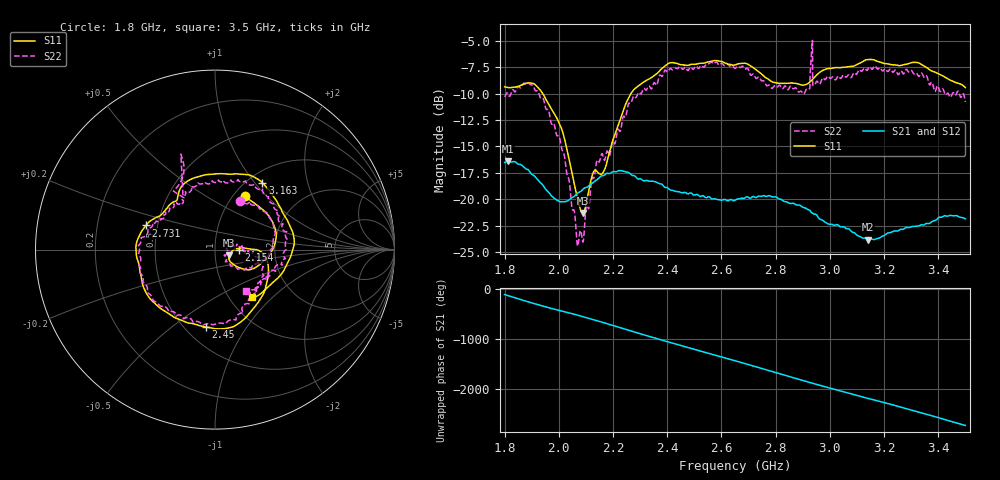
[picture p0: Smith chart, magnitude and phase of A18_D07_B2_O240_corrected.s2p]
! Created with skrf 1.9.0 (http://scikit-rf.org).
# Hz S RI R 50.0
!freq ReS11 ImS11 ReS21 ImS21 ReS12 ImS12 ReS22 ImS22
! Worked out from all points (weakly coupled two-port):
!   1601 points, 1.8 GHz to 3.5 GHz, reference 50 ohm
!   highest |S21| = -16.41 dB at 1.812 GHz (marker M1); lowest = -23.8 dB at 3.142 GHz (marker M2)
!   lowest |S11| = -21.3 dB at 2.088 GHz (marker M3), VSWR 1.19, Z = 58.5 - j3.81 ohm
!   |S11| at or under -10 dB: 1.941 GHz to 2.266 GHz (325 MHz wide, 15.5 % of centre)
!   |S22| runs from -24.5 to -5.0 dB; largest |S21 - S12| = 0.0028
!   S11 on the Smith chart (normalised r, x): 1.8 GHz: 1.12, +0.76; 2.154 GHz: 1.30, -0.00; 2.45 GHz: 0.63, -0.67; 2.731 GHz: 0.43, +0.14; 3.163 GHz: 1.16, +1.10; 3.5 GHz: 1.27, -0.76
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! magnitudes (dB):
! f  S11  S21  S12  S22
! 1.8 GHz  -9.3  -16.5  -16.5  -10.3
! 1.812 GHz  -9.4  -16.4  -16.4  -10.0
! 1.888 GHz  -9.0  -17.2  -17.3  -9.0
! 1.942 GHz  -10.1  -18.7  -18.7  -10.5
! 2.011 GHz  -13.4  -20.2  -20.2  -15.3
! 2.067 GHz  -19.7  -19.5  -19.5  -24.0
! 2.084 GHz  -21.2  -19.2  -19.2  -23.3
! 2.088 GHz  -21.3  -19.1  -19.1  -24.0
! 2.127 GHz  -17.5  -18.4  -18.4  -18.0
! 2.154 GHz  -17.6  -17.9  -17.9  -16.1
! 2.263 GHz  -10.1  -17.6  -17.6  -10.9
! 2.367 GHz  -8.0  -18.5  -18.5  -8.6
! 2.45 GHz  -7.3  -19.4  -19.4  -7.5
! 2.65 GHz  -7.3  -20.1  -20.1  -7.6
! 2.731 GHz  -7.8  -19.8  -19.8  -8.5
! 2.902 GHz  -9.2  -20.8  -20.8  -10.0
! 2.934 GHz  -8.7  -21.3  -21.3  -5.5
! 2.945 GHz  -8.4  -21.4  -21.5  -9.1
! 3.142 GHz  -6.8  -23.8  -23.7  -7.6
! 3.163 GHz  -6.8  -23.8  -23.8  -7.4
! 3.217 GHz  -7.2  -23.2  -23.2  -7.8
! 3.5 GHz  -9.4  -21.9  -21.9  -10.8
